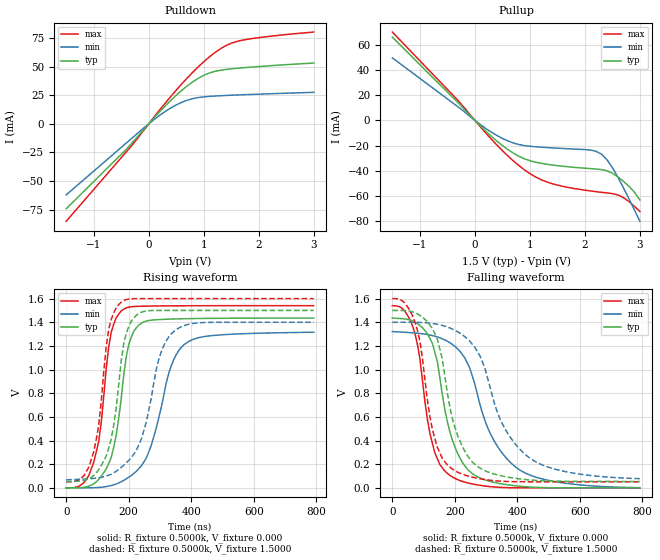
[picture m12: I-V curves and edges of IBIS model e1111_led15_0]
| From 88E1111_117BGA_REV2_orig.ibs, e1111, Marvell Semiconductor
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|   Model e1111_led15_0
[Model]   e1111_led15_0
Model_type   Output
Polarity   Non-Inverting
Enable   Active-High
Vmeas =   0.7500V
Cref =  15.0000pF
Vref =  0.000V
C_comp   0.8500pF   0.7300pF   0.9800pF
[Temperature Range]   25.0000   0.1250k   0.000
[Pullup Reference]   1.5000V   1.4000V   1.6000V
[Pulldown Reference]   0.000V   0.000V   0.000V
[POWER Clamp Reference]   1.5000V   1.4000V   1.6000V
[GND Clamp Reference]   0.000V   0.000V   0.000V
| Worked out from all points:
|   slope of the pulldown table from 0 to 0.225 V, typ, clamps not added: 18.9 ohm
|   slope of the pullup table from 0 to 0.225 V, typ, clamps not added: 23.3 ohm
|   rising waveform, R_fixture 0.5000k, V_fixture 0.000: 20-80 % time 48.4ns typ, 81.3ns min, 42.1ns max; typ from 0 V to 1.44 V
|   rising waveform, R_fixture 0.5000k, V_fixture 1.5000: 20-80 % time 46.9ns typ, 74.8ns min, 40.9ns max; typ from 0.053 V to 1.5 V
|   falling waveform, R_fixture 0.5000k, V_fixture 0.000: 20-80 % time 73.9ns typ, 121ns min, 56.4ns max; typ from 1.44 V to 0 V
|   falling waveform, R_fixture 0.5000k, V_fixture 1.5000: 20-80 % time 76.7ns typ, 127ns min, 58.2ns max; typ from 1.5 V to 0.054 V
[Pulldown]
| voltage   I(typ)   I(min)   I(max)
-1.5V     -74.22mA   -62.06mA   -85.14mA
-400mV    -21.88mA   -16.44mA   -24.05mA
0V        289.9pA    5.178nA    707pA
300mV     15.66mA    10.82mA    18.1mA
600mV     29.23mA    18.8mA     34.86mA
800mV     36.69mA    22.04mA    45.06mA
1V        42.4mA     23.56mA    54.27mA
1.2V      45.84mA    24.3mA     62.18mA
1.4V      47.52mA    24.81mA    68.31mA
1.7V      48.97mA    25.41mA    73.12mA
2.2V      50.77mA    26.32mA    76.5mA
3V        53.18mA    27.55mA    80.24mA
[Pullup]
| voltage   I(typ)   I(min)   I(max)
-1.5V     66.11mA    49.66mA    70.17mA
-300mV    13.78mA    10.53mA    15.51mA
200mV     -8.66mA    -6.477mA   -10.11mA
600mV     -23.17mA   -16.33mA   -28.23mA
900mV     -30.53mA   -20.04mA   -39.27mA
1.4V      -35.44mA   -21.89mA   -50.25mA
2.1V      -38.36mA   -23.6mA    -56.07mA
2.3V      -39.11mA   -26.81mA   -57.17mA
2.5V      -42.04mA   -37.57mA   -58.22mA
2.7V      -48.46mA   -53.47mA   -61.31mA
2.9V      -57.02mA   -71.09mA   -68.26mA
3V        -63.27mA   -80.19mA   -72.4mA
[Ramp]
| variable   typ   min   max
dV/dt_r   0.8613/48.3638n   0.7894/81.3182n   0.9242/42.1370n
dV/dt_f   0.8677/76.6869n   0.7938/0.1269u   0.9299/58.2262n
R_load = 0.5000k
[Rising Waveform]
R_fixture = 0.5000k
V_fixture = 0.000
V_fixture_min = 0.000
V_fixture_max = 0.000
| time   V(typ)   V(min)   V(max)
0s        0V         0V         0V
88ns      34.53mV    1.316mV    215.9mV
104ns     71.71mV    3.448mV    392.5mV
144ns     257mV      19.1mV     1.315V
176ns     754.6mV    50.95mV    1.496V
200ns     1.211V     89.5mV     1.527V
224ns     1.351V     138.5mV    1.534V
272ns     1.417V     358.7mV    1.537V
376ns     1.43V      1.208V     1.539V
792ns     1.435V     1.315V     1.54V
[Rising Waveform]
R_fixture = 0.5000k
V_fixture = 1.5000
V_fixture_min = 1.4000
V_fixture_max = 1.6000
| time   V(typ)   V(min)   V(max)
0s        53.04mV    68.08mV    50.04mV
88ns      104.6mV    79.8mV     305.5mV
104ns     154.2mV    85.29mV    529mV
128ns     268.9mV    99.31mV    1.194V
152ns     529.4mV    127.2mV    1.48V
176ns     1.076V     172.6mV    1.57V
224ns     1.458V     315.3mV    1.6V
296ns     1.5V       1.084V     1.6V
352ns     1.5V       1.338V     1.6V
792ns     1.5V       1.4V       1.6V
[Falling Waveform]
R_fixture = 0.5000k
V_fixture = 0.000
V_fixture_min = 0.000
V_fixture_max = 0.000
| time   V(typ)   V(min)   V(max)
0s        1.436V     1.322V     1.54V
40ns      1.428V     1.315V     1.493V
72ns      1.401V     1.309V     1.31V
128ns     1.223V     1.287V     378.4mV
184ns     475.7mV    1.228V     105.3mV
256ns     120.6mV    944.3mV    32.8mV
312ns     55.23mV    467.5mV    10.51mV
392ns     18.03mV    181.3mV    421.9uV
520ns     528.7uV    53.06mV    18.73nV
792ns     725.2nV    1.625mV    1.16uV
[Falling Waveform]
R_fixture = 0.5000k
V_fixture = 1.5000
V_fixture_min = 1.4000
V_fixture_max = 1.6000
| time   V(typ)   V(min)   V(max)
0s        1.5V       1.4V       1.6V
72ns      1.48V      1.4V       1.406V
88ns      1.458V     1.399V     1.243V
128ns     1.348V     1.39V      497.6mV
160ns     1.088V     1.373V     249.3mV
192ns     588.5mV    1.342V     158.5mV
272ns     181mV      1.153V     80.81mV
352ns     99.35mV    541.4mV    55.47mV
432ns     68.4mV     267.3mV    51.2mV
792ns     53.79mV    77.58mV    50.15mV
